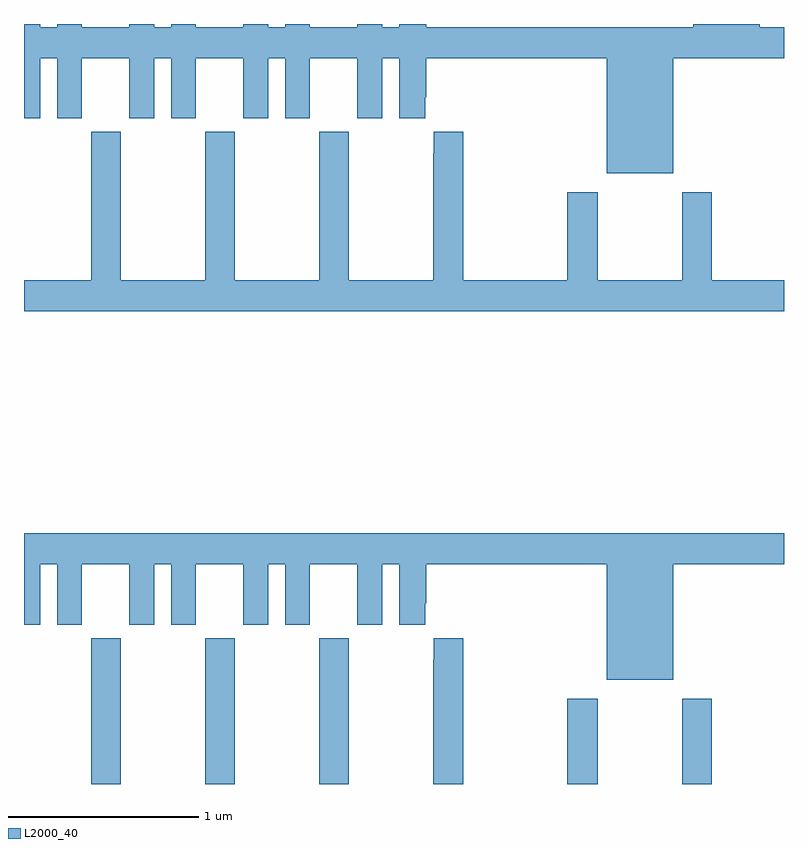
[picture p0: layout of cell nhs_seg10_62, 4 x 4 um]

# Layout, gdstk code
import gdstk
lib = gdstk.Library(unit=1e-6, precision=1e-09)
def R(c, l, rs):  # rectangles x0, y0, x1, y1
    for r in rs: c.add(gdstk.rectangle(r[:2], r[2:], *l))
def A(c, l, x, y, w, h, nx, ny, dx, dy):  # array of equal rectangles
    R(c, l, [(x+i*dx, y+j*dy, x+i*dx+w, y+j*dy+h) for i in range(nx) for j in range(ny)])
def P(c, l, *ps):  # polygons
    for p in ps: c.add(gdstk.Polygon(p, *l))
L2000_40 = (2000, 40)

nhs_seg10_62 = lib.new_cell('nhs_seg10_62')
A(nhs_seg10_62, L2000_40, 113.353, 1292.5, 0.155, 0.768, 3, 1, 0.6, 0)
R(nhs_seg10_62, L2000_40, [(115.859,1292.5,116.019,1292.95), (116.464,1292.5,116.619,1292.95)])
P(nhs_seg10_62, L2000_40, [(116.416,1296.32),(117,1296.32),(117,1296.484),(116.872,1296.484),(116.872,1296.5),(116.522,1296.5),(116.522,1296.484),(115.118,1296.484),(115.118,1296.5),(114.974,1296.5),(114.974,1296.484),(114.886,1296.484),(114.886,1296.5),(114.755,1296.5),(114.755,1296.484),(114.505,1296.484),(114.505,1296.5),(114.374,1296.5),(114.374,1296.484),(114.286,1296.484),(114.286,1296.5),(114.155,1296.5),(114.155,1296.484),(113.905,1296.484),(113.905,1296.5),(113.774,1296.5),(113.774,1296.484),(113.686,1296.484),(113.686,1296.5),(113.555,1296.5),(113.555,1296.484),(113.305,1296.484),(113.305,1296.5),(113.174,1296.5),(113.174,1296.484),(113.086,1296.484),(113.086,1296.5),(113,1296.5),(113,1296.003),(113.086,1296.003),(113.086,1296.32),(113.174,1296.32),(113.174,1296.003),(113.305,1296.003),(113.305,1296.32),(113.555,1296.32),(113.555,1296.003),(113.686,1296.003),(113.686,1296.32),(113.774,1296.32),(113.774,1296.003),(113.905,1296.003),(113.905,1296.32),(114.155,1296.32),(114.155,1296.003),(114.286,1296.003),(114.286,1296.32),(114.374,1296.32),(114.374,1296.003),(114.505,1296.003),(114.505,1296.32),(114.755,1296.32),(114.755,1296.003),(114.886,1296.003),(114.886,1296.32),(114.974,1296.32),(114.974,1296.003),(115.111,1296.003),(115.111,1296.115),(115.118,1296.115),(115.118,1296.32),(116.066,1296.32),(116.066,1295.714),(116.416,1295.714)],
  [(117,1295.152),(116.619,1295.152),(116.619,1295.614),(116.464,1295.614),(116.464,1295.152),(116.019,1295.152),(116.019,1295.614),(115.859,1295.614),(115.859,1295.152),(115.313,1295.152),(115.313,1295.932),(115.157,1295.932),(115.157,1295.819),(115.153,1295.819),(115.153,1295.152),(114.708,1295.152),(114.708,1295.932),(114.553,1295.932),(114.553,1295.152),(114.108,1295.152),(114.108,1295.932),(113.953,1295.932),(113.953,1295.152),(113.508,1295.152),(113.508,1295.932),(113.353,1295.932),(113.353,1295.152),(113,1295.152),(113,1294.988),(117,1294.988)],
  [(116.416,1293.656),(117,1293.656),(117,1293.82),(113,1293.82),(113,1293.339),(113.086,1293.339),(113.086,1293.656),(113.174,1293.656),(113.174,1293.339),(113.305,1293.339),(113.305,1293.656),(113.555,1293.656),(113.555,1293.339),(113.686,1293.339),(113.686,1293.656),(113.774,1293.656),(113.774,1293.339),(113.905,1293.339),(113.905,1293.656),(114.155,1293.656),(114.155,1293.339),(114.286,1293.339),(114.286,1293.656),(114.374,1293.656),(114.374,1293.339),(114.505,1293.339),(114.505,1293.656),(114.755,1293.656),(114.755,1293.339),(114.886,1293.339),(114.886,1293.656),(114.974,1293.656),(114.974,1293.339),(115.111,1293.339),(115.111,1293.451),(115.118,1293.451),(115.118,1293.656),(116.066,1293.656),(116.066,1293.05),(116.416,1293.05)],
  [(115.313,1293.268),(115.157,1293.268),(115.157,1293.155),(115.153,1293.155),(115.153,1292.5),(115.313,1292.5)])

lib.write_gds('nhs_seg10_62.gds')
